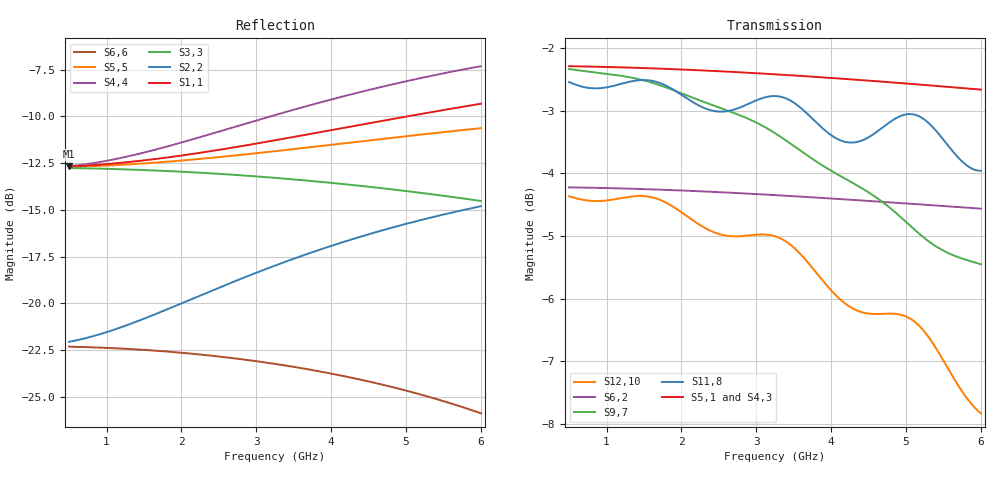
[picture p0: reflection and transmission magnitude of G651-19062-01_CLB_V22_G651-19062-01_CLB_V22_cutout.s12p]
! Touchstone file exported from HFSS 3D Layout Design 2025.1.0
!  File:  C:/Users/pricewu/Documents/Ansoft/G651-19062-01_CLB_V22.aedt
!  Generated:  03:36:47 AM Apr  8, 2026
!  Design:  G651-19062-01_CLB_V22_cutout
!  Project:  G651-19062-01_CLB_V22
!  Setup:  Setup1
!  Solution:  Sweep1
# GHz S MA R 50.000000
! Terminal data exported
! Port[1] = ANT6_C10603
! Port[2] = ANT6_C10605
! Port[3] = ANT6_C10606
! Port[4] = ANT6_CLB_BTB
! Port[5] = ANT6_CONN
! Port[6] = ANT6_L10604
! Port[7] = ANT7_C10704
! Port[8] = ANT7_CLB_BTB
! Port[9] = ANT7_CONN
! Port[10] = ANT7_L10701
! Port[11] = ANT7_L10702
! Port[12] = ANT7_R10701
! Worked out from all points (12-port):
!   551 points, 500 MHz to 6 GHz, reference 50 ohm
!   strongest paths, dB at 500 MHz, 1.87 GHz, 3.25 GHz, 4.63 GHz, 6 GHz:
!     S5,1: -2.3, -2.3, -2.4, -2.5, -2.7
!     S4,3: -2.3, -2.4, -2.5, -2.8, -3.0
!     S11,8: -2.5, -2.6, -2.8, -3.3, -4.0
!     S9,7: -2.3, -2.7, -3.4, -4.4, -5.5
!     S6,2: -4.2, -4.3, -4.3, -4.5, -4.6
!     S12,10: -4.4, -4.5, -5.0, -6.2, -7.8
!   lowest |S11| = -12.7 dB at 500 MHz (marker M1), VSWR 1.60, Z = 80.1 + j2.58 ohm
!   |S11| at or under -10 dB: start of sweep to 5.019 GHz
